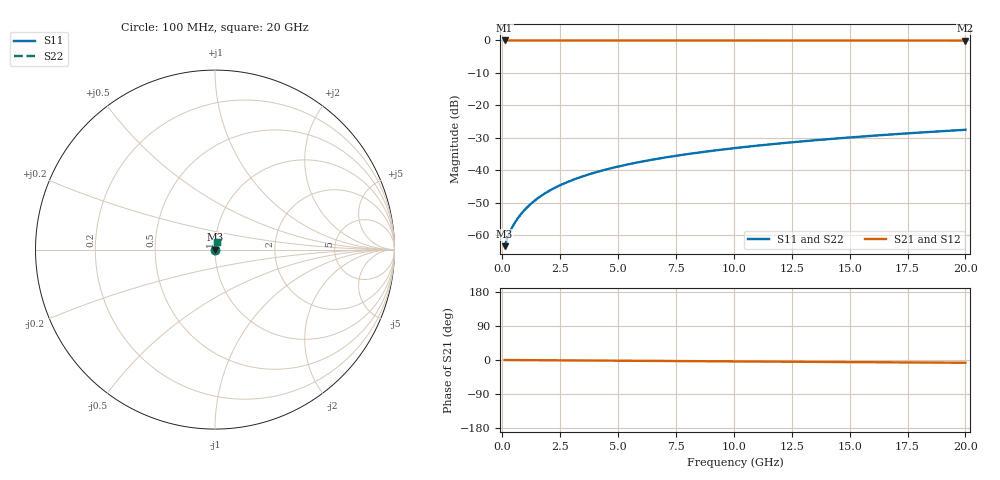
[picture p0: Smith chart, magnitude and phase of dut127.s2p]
! Touchstone file exported from HFSS 2026.1.0
!  File:  C:/ffzhzh/LocalFiles/Ansys_Project_Files/temp_train_BSMRDL_127_1782986157_40604.aedt
!  Generated:  05:57:07 PM Jul  2, 2026
!  Design:  BSMRDL
!  Project:  temp_train_BSMRDL_127_1782986157_40604
! Variables:
!  h_bsmrdl = 4.28um
!  h_ox = 20um
!  h_rdl = 5um
!  h_sub = 80um
!  h_tmrdl = 5um
!  h_tsv = 80um
!  h_via = 3um
!  l_bsmrdl = 105.2um
!  l_sub = 505.2um
!  l_tmrdl = 200um
!  m_sub = 200um
!  pitch = 30.23um
!  r_tsv = 6um
!  s_tmrdl = 10um
!  w_bsmrdl = 20.28um
!  w_sub = 500um
!  w_tmrdl = 12um
!  x_tsv_center1 = 206um
!  x_tsv_center2 = 331.48um
!  x_tsv_center3 = 543.48um
!  x_tsv_center4 = 668.96um
!  x_tsv_center5 = 880.96um
!  x_tsv_center6 = 1006.44um
# GHz S MA R 50.000000
! Terminal data exported
! Port[1] = BSM_RDL1_1_T1
! Port[2] = BSM_RDL1_1_T2
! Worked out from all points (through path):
!   200 points, 100 MHz to 20 GHz, reference 50 ohm
!   highest |S21| = -0.01 dB at 100 MHz (marker M1); lowest = 0.0 dB at 20 GHz (marker M2)
!   group delay of S21, straight-line fit = 1.01 ps
!   lowest |S11| = -63.3 dB at 100 MHz (marker M3), VSWR 1.00, Z = 50.1 + j0.0298 ohm
!   |S11| at or under -10 dB: start of sweep to end of sweep
!   |S22| runs from -63.3 to -27.5 dB; largest |S21 - S12| = 2.8e-15
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0.1  0.0006828 25.8  0.9994 -0.0  0.9994 -0.0  0.0006828 25.8
! Gamma 0 0 0 0
! Port Impedance 50 0 50 0
0.2  0.0008697 40.7  0.9993 -0.1  0.9993 -0.1  0.0008697 40.7
0.3  0.001073 49.1  0.9993 -0.1  0.9993 -0.1  0.001073 49.1
0.4  0.001276 54.7  0.9993 -0.2  0.9993 -0.2  0.001276 54.7
0.5  0.00148 59.0  0.9992 -0.2  0.9992 -0.2  0.00148 59.0
0.6  0.001686 62.3  0.9992 -0.2  0.9992 -0.2  0.001686 62.3
0.8  0.002109 67.3  0.9992 -0.3  0.9992 -0.3  0.002109 67.3
1  0.002543 70.7  0.9992 -0.4  0.9992 -0.4  0.002543 70.7
1.2  0.002985 73.1  0.9992 -0.5  0.9992 -0.5  0.002985 73.1
1.4  0.003432 74.9  0.9991 -0.5  0.9991 -0.5  0.003432 74.9
1.7  0.004109 76.7  0.9991 -0.6  0.9991 -0.6  0.004109 76.7
2.2  0.005241 78.6  0.999 -0.8  0.999 -0.8  0.005241 78.6
2.8  0.006598 79.8  0.9989 -1.1  0.9989 -1.1  0.006598 79.8
3.5  0.008166 80.5  0.9988 -1.3  0.9988 -1.3  0.008166 80.5
4.2  0.009716 80.8  0.9987 -1.6  0.9987 -1.6  0.009716 80.8
5  0.01146 81.0  0.9985 -1.9  0.9985 -1.9  0.01146 81.0
6.8  0.01531 81.0  0.9981 -2.5  0.9981 -2.5  0.01531 81.0
8.3  0.01845 80.8  0.9979 -3.1  0.9979 -3.1  0.01845 80.8
10.1  0.02217 80.5  0.9975 -3.7  0.9975 -3.7  0.02217 80.5
13.4  0.02891 79.9  0.997 -4.9  0.997 -4.9  0.02891 79.9
16.7  0.03558 79.1  0.9964 -6.1  0.9964 -6.1  0.03558 79.1
20  0.04219 78.3  0.9959 -7.3  0.9959 -7.3  0.04219 78.3
